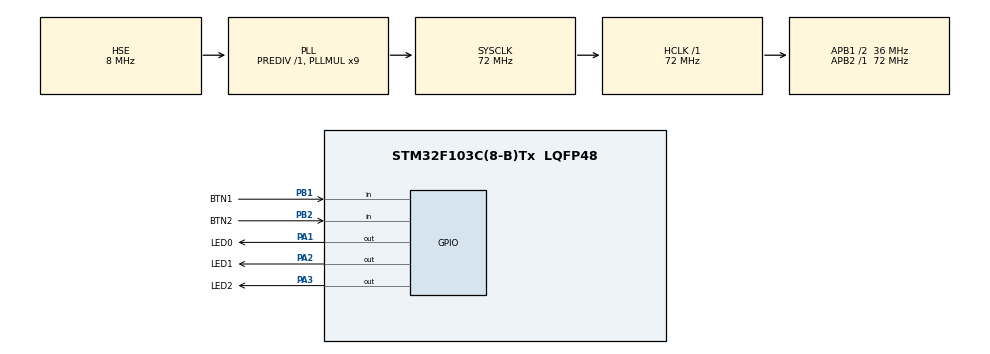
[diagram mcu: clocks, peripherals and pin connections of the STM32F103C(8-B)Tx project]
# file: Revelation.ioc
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Mcu.Family=STM32F1
Mcu.Name=STM32F103C(8-B)Tx
Mcu.Package=LQFP48
NVIC.PriorityGroup=NVIC_PRIORITYGROUP_4
PA1.GPIO_Label=LED0
PA1.PinState=GPIO_PIN_RESET
PA1.Signal=GPIO_Output
PA13.Mode=Serial_Wire
PA13.Signal=SYS_JTMS-SWDIO
PA14.Mode=Serial_Wire
PA14.Signal=SYS_JTCK-SWCLK
PA2.GPIO_Label=LED1
PA2.PinState=GPIO_PIN_RESET
PA2.Signal=GPIO_Output
PA3.GPIO_Label=LED2
PA3.GPIO_ModeDefaultOutputPP=GPIO_MODE_OUTPUT_PP
PA3.Signal=GPIO_Output
PB1.GPIO_Label=BTN1
PB1.GPIO_PuPd=GPIO_PULLUP
PB1.Signal=GPIO_Input
PB2.GPIO_Label=BTN2
PB2.GPIO_PuPd=GPIO_PULLUP
PB2.Signal=GPIO_Input
PC14-OSC32_IN.Mode=LSE-External-Oscillator
PC14-OSC32_IN.Signal=RCC_OSC32_IN
PC15-OSC32_OUT.Mode=LSE-External-Oscillator
PC15-OSC32_OUT.Signal=RCC_OSC32_OUT
PD0-OSC_IN.Mode=HSE-External-Oscillator
PD0-OSC_IN.Signal=RCC_OSC_IN
PD1-OSC_OUT.Mode=HSE-External-Oscillator
PD1-OSC_OUT.Signal=RCC_OSC_OUT
ProjectManager.HeapSize=0x200
ProjectManager.StackSize=0x400
ProjectManager.TargetToolchain=STM32CubeIDE
RCC.AHBFreq_Value=72000000
RCC.APB1CLKDivider=RCC_HCLK_DIV2
RCC.APB1Freq_Value=36000000
RCC.APB1TimFreq_Value=72000000
RCC.APB2Freq_Value=72000000
RCC.APB2TimFreq_Value=72000000
RCC.HCLKFreq_Value=72000000
RCC.PLLMUL=RCC_PLL_MUL9
RCC.PLLSourceVirtual=RCC_PLLSOURCE_HSE
RCC.SYSCLKFreq_VALUE=72000000
RCC.SYSCLKSource=RCC_SYSCLKSOURCE_PLLCLK
RCC.USBFreq_Value=72000000
board=custom

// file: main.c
/* USER CODE BEGIN Header */
/**
  ******************************************************************************
  * @file           : main.c
  * @brief          : Main program body
  ******************************************************************************
  * @attention
  *
  * Copyright (c) 2026 STMicroelectronics.
  * All rights reserved.
  *
  * This software is licensed under terms that can be found in the LICENSE file
  * in the root directory of this software component.
  * If no LICENSE file comes with this software, it is provided AS-IS.
  *
  ******************************************************************************
  */
/* USER CODE END Header */
#include "main.h"
#include "gpio.h"

void SystemClock_Config(void);

int main(void)
{

  /* MCU Configuration--------------------------------------------------------*/

  /* Reset of all peripherals, Initializes the Flash interface and the Systick. */
  HAL_Init();

  /* Configure the system clock */
  SystemClock_Config();

  /* Initialize all configured peripherals */
  MX_GPIO_Init();
  /* USER CODE BEGIN 2 */
  int last_time = 0;          //上次时间
  uint8_t led_state = 0;//运行状态
  /* USER CODE END 2 */

  /* Infinite loop */
  /* USER CODE BEGIN WHILE */

  while (1)
  {
    uint32_t current_time = HAL_GetTick();
    if (current_time - last_time >= 500)                   //通过内部时钟进行检测，若距离上次时间大于500ms，则点亮
    {
      last_time = current_time;

      HAL_GPIO_WritePin(LED0_GPIO_Port, LED0_Pin, GPIO_PIN_RESET);
      HAL_GPIO_WritePin(LED1_GPIO_Port, LED1_Pin, GPIO_PIN_RESET);
      HAL_GPIO_WritePin(LED2_GPIO_Port, LED2_Pin, GPIO_PIN_RESET);

      if (led_state == 0)
      {
        HAL_GPIO_WritePin(LED0_GPIO_Port, LED0_Pin, GPIO_PIN_SET);   //根据状态点灯
        led_state = 1;
      }
      else if (led_state == 1)
      {
        HAL_GPIO_WritePin(LED1_GPIO_Port, LED1_Pin, GPIO_PIN_SET);
        led_state = 2;
      }
      else if (led_state == 2)
      {
        HAL_GPIO_WritePin(LED2_GPIO_Port, LED2_Pin, GPIO_PIN_SET);
        led_state = 0;
      }
    }

    /* USER CODE END WHILE */

  }
}

void SystemClock_Config(void)
{
  RCC_OscInitTypeDef RCC_OscInitStruct = {0};
  RCC_ClkInitTypeDef RCC_ClkInitStruct = {0};

  /** Initializes the RCC Oscillators according to the specified parameters
  * in the RCC_OscInitTypeDef structure.
  */
  RCC_OscInitStruct.OscillatorType = RCC_OSCILLATORTYPE_HSE;
  RCC_OscInitStruct.HSEState = RCC_HSE_ON;
  RCC_OscInitStruct.HSEPredivValue = RCC_HSE_PREDIV_DIV1;
  RCC_OscInitStruct.HSIState = RCC_HSI_ON;
  RCC_OscInitStruct.PLL.PLLState = RCC_PLL_ON;
  RCC_OscInitStruct.PLL.PLLSource = RCC_PLLSOURCE_HSE;
  RCC_OscInitStruct.PLL.PLLMUL = RCC_PLL_MUL9;
  if (HAL_RCC_OscConfig(&RCC_OscInitStruct) != HAL_OK)
  {
    Error_Handler();
  }

  /** Initializes the CPU, AHB and APB buses clocks
  */
  RCC_ClkInitStruct.ClockType = RCC_CLOCKTYPE_HCLK|RCC_CLOCKTYPE_SYSCLK
                              |RCC_CLOCKTYPE_PCLK1|RCC_CLOCKTYPE_PCLK2;
  RCC_ClkInitStruct.SYSCLKSource = RCC_SYSCLKSOURCE_PLLCLK;
  RCC_ClkInitStruct.AHBCLKDivider = RCC_SYSCLK_DIV1;
  RCC_ClkInitStruct.APB1CLKDivider = RCC_HCLK_DIV2;
  RCC_ClkInitStruct.APB2CLKDivider = RCC_HCLK_DIV1;

  if (HAL_RCC_ClockConfig(&RCC_ClkInitStruct, FLASH_LATENCY_2) != HAL_OK)
  {
    Error_Handler();
  }
}

void Error_Handler(void)
{
  __disable_irq();
  while (1)
  {
  }
}
